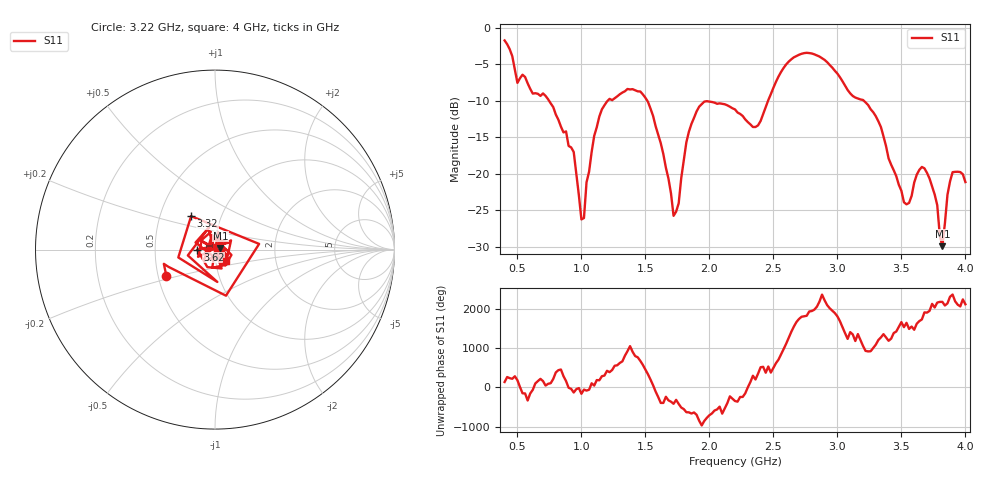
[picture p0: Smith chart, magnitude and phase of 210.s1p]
!Created with skrf (http://scikit-rf.org).
# Hz S RI R 50.0
!freq ReS11 ImS11
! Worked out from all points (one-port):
!   181 points, 400 MHz to 4 GHz, reference 50 ohm
!   lowest |S11| = -29.9 dB at 3.82 GHz (marker M1), VSWR 1.07, Z = 53.1 + j0.992 ohm
!   |S11| at or under -10 dB: 747.2 MHz to 1.205 GHz (458.2 MHz wide, 46.9 % of centre); 1.515 GHz to 2.458 GHz (943.5 MHz wide, 47.5 % of centre); 3.207 GHz to end of sweep
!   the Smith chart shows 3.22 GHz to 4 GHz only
!   S11 on the Smith chart (normalised r, x): 3.22 GHz: 0.55, -0.18; 3.32 GHz: 0.72, +0.28; 3.62 GHz: 0.82, -0.00; 4 GHz: 1.13, -0.14
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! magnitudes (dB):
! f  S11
! 400 MHz  -1.7
! 500 MHz  -7.5
! 720 MHz  -9.3
! 860 MHz  -14.3
! 940 MHz  -17.0
! 1 GHz  -26.2
! 1.02 GHz  -26.0
! 1.04 GHz  -21.2
! 1.14 GHz  -12.2
! 1.3 GHz  -9.1
! 1.52 GHz  -10.1
! 1.72 GHz  -25.7
! 1.76 GHz  -24.0
! 1.82 GHz  -15.7
! 1.92 GHz  -10.8
! 2.2 GHz  -11.2
! 2.38 GHz  -13.4
! 2.66 GHz  -4.1
! 2.88 GHz  -4.2
! 3.1 GHz  -9.0
! 3.22 GHz  -10.2
! 3.32 GHz  -12.8
! 3.56 GHz  -24.0
! 3.62 GHz  -20.1
! 3.72 GHz  -20.6
! 3.82 GHz  -29.9
! 3.9 GHz  -19.8
! 4 GHz  -21.1
